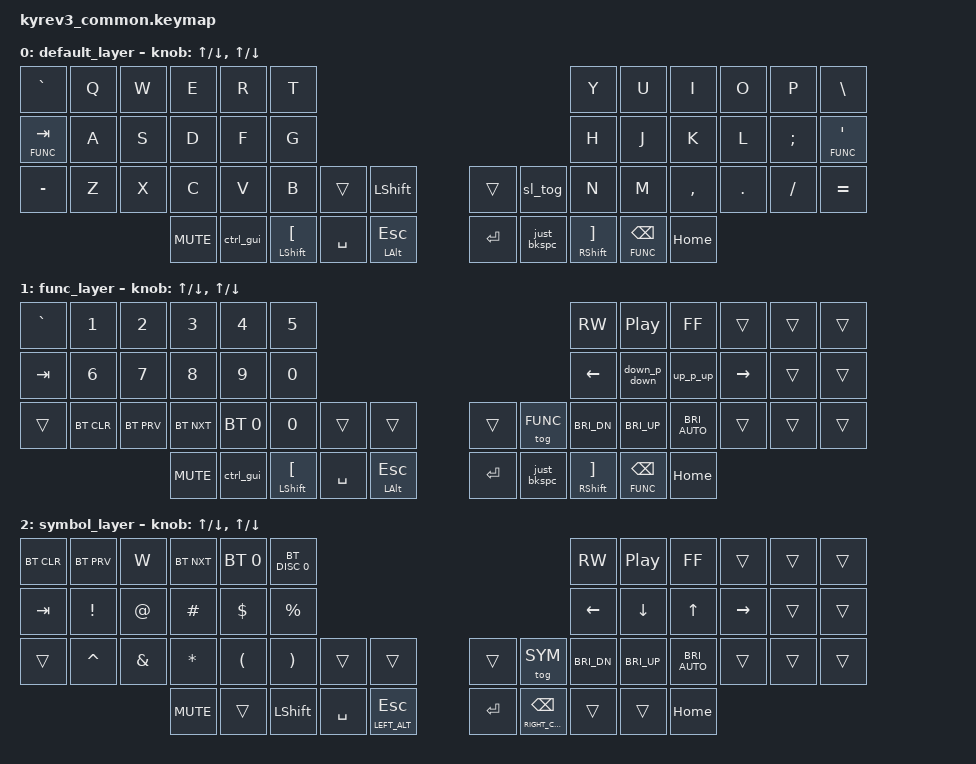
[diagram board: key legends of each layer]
#include <behaviors.dtsi>
#include <dt-bindings/zmk/bt.h>
#include <dt-bindings/zmk/keys.h>


#define DEFAULT 0
#define FUNC  1
#define SYM  2

/ {
    combos {
        compatible = "zmk,combos";
        combo_esc {
            timeout-ms = <50>;
            key-positions = <1 2>;
            bindings = <&kp ESC>;
        };
    };
    behaviors {
            clear_tog: clear_toggle {
            compatible = "zmk,behavior-mod-morph";
            #binding-cells = <0>;
            bindings = <&bt BT_CLR>, <&tog FUNC>;
            mods = <(MOD_LSFT|MOD_RSFT)>;
            };
            just_bkspc: just_bkspc {
            compatible = "zmk,behavior-mod-morph";
            #binding-cells = <0>;
            bindings = <&mt RIGHT_CONTROL BACKSPACE>, <&kp BACKSPACE>;
            mods = <(MOD_LSFT)>;
            };
            grave_tog: grave_toggle {
            compatible = "zmk,behavior-mod-morph";
            #binding-cells = <0>;
            bindings = <&kp GRAVE>, <&tog FUNC>;
            mods = <(MOD_LSFT|MOD_RSFT)>;
            };
            sl_tog: sticky_layer_toggle {
            compatible = "zmk,behavior-mod-morph";
            #binding-cells = <0>;
            bindings = <&sl FUNC>, <&tog FUNC>;
            mods = <(MOD_LSFT|MOD_RSFT)>;
            };
            hspc: holdable_backspace {
            compatible = "zmk,behavior-mod-morph";
            #binding-cells = <0>;
            bindings = <&mt RIGHT_CONTROL BACKSPACE>, <&kp BACKSPACE>;
            mods = <(MOD_LSFT|MOD_RSFT)>;
            };
            down_p_down: down_and_page_down {
            compatible = "zmk,behavior-mod-morph";
            #binding-cells = <0>;
            bindings = <&kp DOWN>, <&kp PAGE_DOWN>;
            mods = <(MOD_LSFT|MOD_RSFT)>;
            };
            up_p_up: up_and_page_up {
            compatible = "zmk,behavior-mod-morph";
            #binding-cells = <0>;
            bindings = <&kp UP>, <&kp PAGE_UP>;
            mods = <(MOD_LSFT|MOD_RSFT)>;
            };
            ctrl_gui: left_ctrl_gui {
            compatible = "zmk,behavior-tap-dance";
            #binding-cells = <0>;
            tapping-term-ms = <200>;
            bindings = <&kp LEFT_CONTROL>, <&kp LGUI>;
            };
    };
    keymap {
            compatible = "zmk,keymap";
    
            default_layer {
            // ---------------------------------------------------------------------------------------------------------------------------------
            // | GRAVE |  Q  |  W  |  E   |  R   |  T   |                                    |  Y   |  U    |  I    |  O   |  P   |   \   |
            // | FUNC+TAB |  A  |  S  |  D   |  F   |  G   |                                 |  H   |  J    |  K    |  L   |   ;   |   '   |
            // | MINUS |  Z  |  X  |  C   |  V   |  B   | TRANS | L_SHIFT | TRANS | LAYER 1     |  N   |  M    |  ,    |  .   |   /   | EQUAL |
            //               | MUTE | CTRL/GUI | L_SHIFT+[ |SPACE | L_ALT+ESC | TD_LAYER |   DEL   |   ]   | FUNC+BSPC  | HOME |
    
            bindings = <
            &kp GRAVE  &kp Q  &kp W  &kp E &kp R &kp T                                                                  &kp Y  &kp U     &kp I  &kp O    &kp P     &kp BSLH
            &lt FUNC TAB    &kp A  &kp S  &kp D &kp F &kp G                                                              &kp H &kp J &kp K &kp L &kp SEMI  &lt FUNC SQT
            &kp MINUS  &kp Z  &kp X  &kp C &kp V &kp B  &trans   &kp LEFT_SHIFT  &trans &sl_tog &kp N     &kp M     &kp COMMA  &kp DOT  &kp FSLH  &kp EQUAL
                    &kp C_MUTE  &ctrl_gui &mt LEFT_SHIFT LEFT_BRACKET &kp SPACE &mt LEFT_ALT ESC    &kp RET  &just_bkspc  &mt RIGHT_SHIFT RIGHT_BRACKET  &lt FUNC BSPC  &kp HOME
            >;
            sensor-bindings = <&inc_dec_kp UP DOWN &inc_dec_kp UP DOWN>;
            };
    
    // ---------------------------------------------------------------------------------------------------------------------------------------------------------------------------
    // | GRAVE |  1  |  2  |  3   |  4  |  5  |                                          | MEDIA REWIND | MEDIA PLAY_PAUSE | MEDIA FAST-FORWARD |  -    |  -    | -   |
    // |  TAB  |  6  |  7  |  8   |  9  |  0  |                                          | LEFT ARROW  | MOUSE SCROLL DOWN | MOUSE SCROLL UP | RIGHT ARROW  |  -   |  -   |
    // | - | BT CLEAR | BT PREV | BT NEXT | BT SEL | 0|                                                     |  TOGGLE  |  BRIGHTNESS DOWN  | BRIGHTNESS UP   |  BRIGHTNESS AUTO | -  |  -  |
    //                     | MUTE | GUI  | L_SHIFT+[ |  SPACE | ALT + ESC |  |  DELETE  | BSPC  | R_SHIFT  | R-ALT |
            func_layer {
            bindings = <
                    &kp GRAVE  &kp NUM_1 &kp NUM_2   &kp NUM_3    &kp NUM_4 &kp NUM_5                                &kp C_RW    &kp C_PP     &kp C_FF   &trans  &trans  &trans
                    &kp TAB &kp NUM_6  &kp NUM_7  &kp NUM_8  &kp NUM_9 &kp NUM_0                      &kp LEFT    &down_p_down &up_p_up &kp RIGHT   &trans  &trans
            &trans  &bt BT_CLR  &bt BT_PRV &bt BT_NXT   &bt BT_SEL 0 &kp NUMBER_0 &trans &trans       &trans  &tog FUNC  &kp C_BRI_DN  &kp C_BRI_UP  &kp C_BRI_AUTO  &trans  &trans  &trans
                    &kp C_MUTE  &ctrl_gui &mt LEFT_SHIFT LEFT_BRACKET &kp SPACE &mt LEFT_ALT ESC    &kp RET  &just_bkspc  &mt RIGHT_SHIFT RIGHT_BRACKET  &lt FUNC BSPC  &kp HOME
            >;
    
            sensor-bindings = <&inc_dec_kp UP DOWN &inc_dec_kp UP DOWN>;
            };
            symbol_layer {
            bindings = <
                    &bt BT_CLR  &bt BT_PRV &kp W   &bt BT_NXT    &bt BT_SEL 0 &bt BT_DISC 0                &kp C_RW    &kp C_PP     &kp C_FF   &trans  &trans  &trans
                    &kp TAB &kp EXCLAMATION  &kp AT_SIGN  &kp HASH &kp DOLLAR &kp PERCENT                      &kp LEFT    &kp DOWN     &kp UP      &kp RIGHT   &trans  &trans
                    &trans  &kp CARET &kp AMPERSAND &kp STAR &kp LEFT_PARENTHESIS &kp RIGHT_PARENTHESIS &trans &trans       &trans  &tog SYM  &kp C_BRI_DN  &kp C_BRI_UP  &kp C_BRI_AUTO  &trans  &trans  &trans
                            &kp C_MUTE        &trans       &kp LEFT_SHIFT &kp SPACE  &lt LEFT_ALT ESC                   &kp RET  &lt RIGHT_CONTROL BSPC  &trans  &trans  &kp HOME
            >;
    
            sensor-bindings = <&inc_dec_kp UP DOWN &inc_dec_kp UP DOWN>;
            };
    
    };
};
